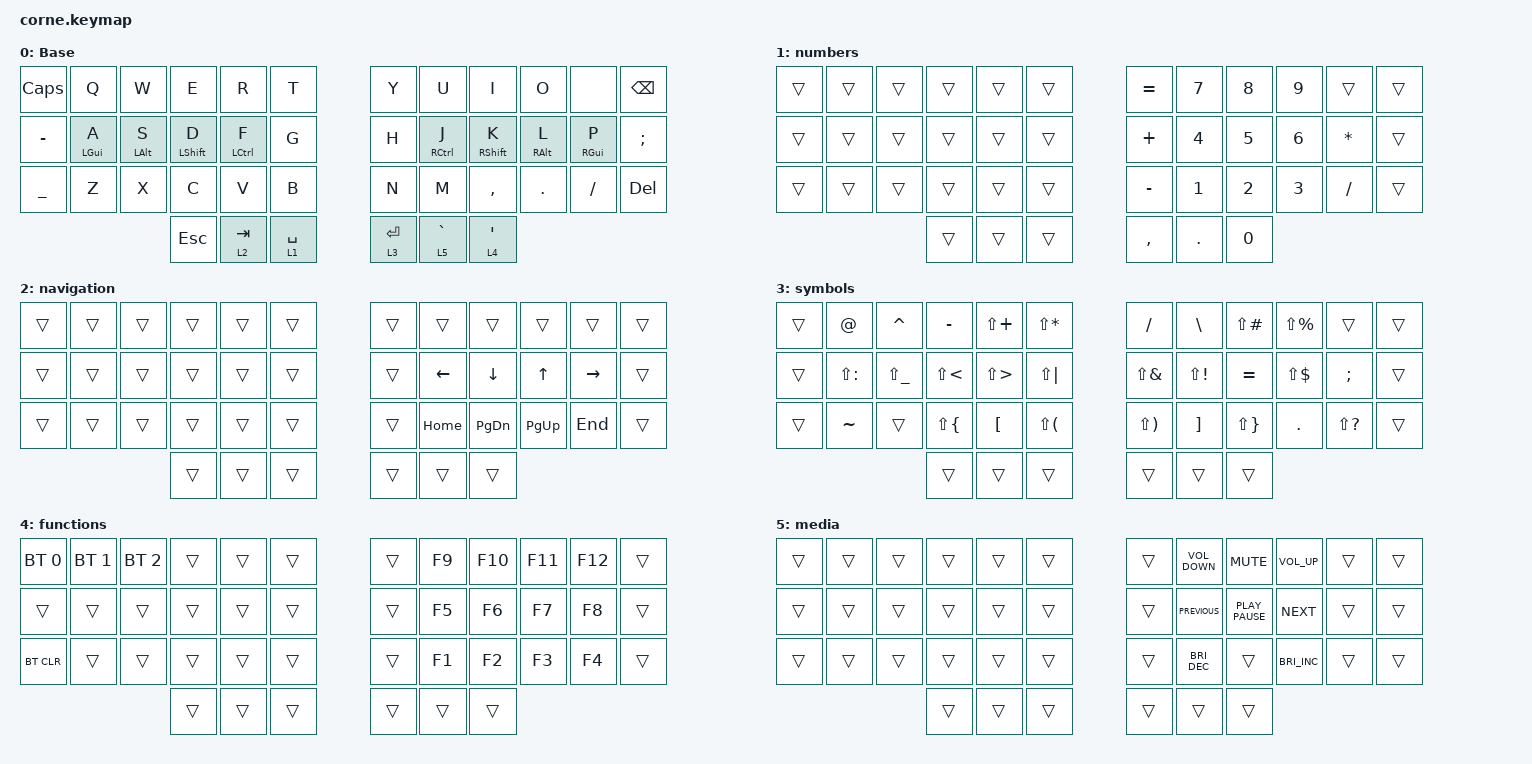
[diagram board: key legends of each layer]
/*
 * Copyright (c) 2020 The ZMK Contributors
 *
 * SPDX-License-Identifier: MIT
 */

#include <behaviors.dtsi>
#include <dt-bindings/zmk/bt.h>
#include <dt-bindings/zmk/keys.h>

&mt { flavor = "tap-preferred"; };

/ {
    combos { compatible = "zmk,combos"; };

    keymap {
        compatible = "zmk,keymap";

        base {
            label = "Base";
            bindings = <
&kp CAPS   &kp Q           &kp W           &kp E             &kp R               &kp T          &kp Y        &kp U        &kp I         &kp O            &none       &kp BACKSPACE
&kp MINUS  &mt LEFT_GUI A  &mt LEFT_ALT S  &mt LEFT_SHIFT D  &mt LEFT_CONTROL F  &kp G          &kp H        &mt RCTRL J  &mt RSHIFT K  &mt RIGHT_ALT L  &mt RGUI P  &kp SEMI
&kp UNDER  &kp Z           &kp X           &kp C             &kp V               &kp B          &kp N        &kp M        &kp COMMA     &kp DOT          &kp FSLH    &kp DELETE
                                           &kp ESCAPE        &lt 2 TAB           &lt 1 SPACE    &lt 3 ENTER  &lt 5 GRAVE  &lt 4 APOS
            >;
        };

        numbers {
            bindings = <
&trans  &trans  &trans  &trans  &trans  &trans    &kp EQUAL  &kp N7        &kp N8        &kp N9        &trans        &trans
&trans  &trans  &trans  &trans  &trans  &trans    &kp PLUS   &kp NUMBER_4  &kp N5        &kp NUMBER_6  &kp ASTERISK  &trans
&trans  &trans  &trans  &trans  &trans  &trans    &kp MINUS  &kp NUMBER_1  &kp NUMBER_2  &kp NUMBER_3  &kp SLASH     &trans
                        &trans  &trans  &trans    &kp COMMA  &kp DOT       &kp N0
            >;
        };

        navigation {
            bindings = <
&trans  &trans  &trans  &trans  &trans  &trans    &trans  &trans    &trans         &trans        &trans     &trans
&trans  &trans  &trans  &trans  &trans  &trans    &trans  &kp LEFT  &kp DOWN       &kp UP_ARROW  &kp RIGHT  &trans
&trans  &trans  &trans  &trans  &trans  &trans    &trans  &kp HOME  &kp PAGE_DOWN  &kp PAGE_UP   &kp END    &trans
                        &trans  &trans  &trans    &trans  &trans    &trans
            >;
        };

        symbols {
            bindings = <
&trans  &kp AT         &kp CARET      &kp MINUS     &kp LS(PLUS)  &kp LS(STAR)    &kp FSLH      &kp BSLH      &kp LS(POUND)  &kp LS(PRCNT)  &trans         &trans
&trans  &kp LS(COLON)  &kp LS(UNDER)  &kp LS(LT)    &kp LS(GT)    &kp LS(PIPE)    &kp LS(AMPS)  &kp LS(EXCL)  &kp EQUAL      &kp LS(DLLR)   &kp SEMI       &trans
&trans  &kp TILDE      &trans         &kp LS(LBRC)  &kp LBKT      &kp LS(LPAR)    &kp LS(RPAR)  &kp RBKT      &kp LS(RBRC)   &kp DOT        &kp LS(QMARK)  &trans
                                      &trans        &trans        &trans          &trans        &trans        &trans
            >;
        };

        functions {
            bindings = <
&bt BT_SEL 0  &bt BT_SEL 1  &bt BT_SEL 2  &trans  &trans  &trans    &trans  &kp F9  &kp F10  &kp F11  &kp F12  &trans
&trans        &trans        &trans        &trans  &trans  &trans    &trans  &kp F5  &kp F6   &kp F7   &kp F8   &trans
&bt BT_CLR    &trans        &trans        &trans  &trans  &trans    &trans  &kp F1  &kp F2   &kp F3   &kp F4   &trans
                                          &trans  &trans  &trans    &trans  &trans  &trans
            >;
        };

        media {
            bindings = <
&trans  &trans  &trans  &trans  &trans  &trans    &trans  &kp C_VOLUME_DOWN     &kp K_MUTE        &kp C_VOLUME_UP       &trans  &trans
&trans  &trans  &trans  &trans  &trans  &trans    &trans  &kp K_PREVIOUS        &kp K_PLAY_PAUSE  &kp K_NEXT            &trans  &trans
&trans  &trans  &trans  &trans  &trans  &trans    &trans  &kp C_BRIGHTNESS_DEC  &trans            &kp C_BRIGHTNESS_INC  &trans  &trans
                        &trans  &trans  &trans    &trans  &trans                &trans
            >;
        };
    };
};
